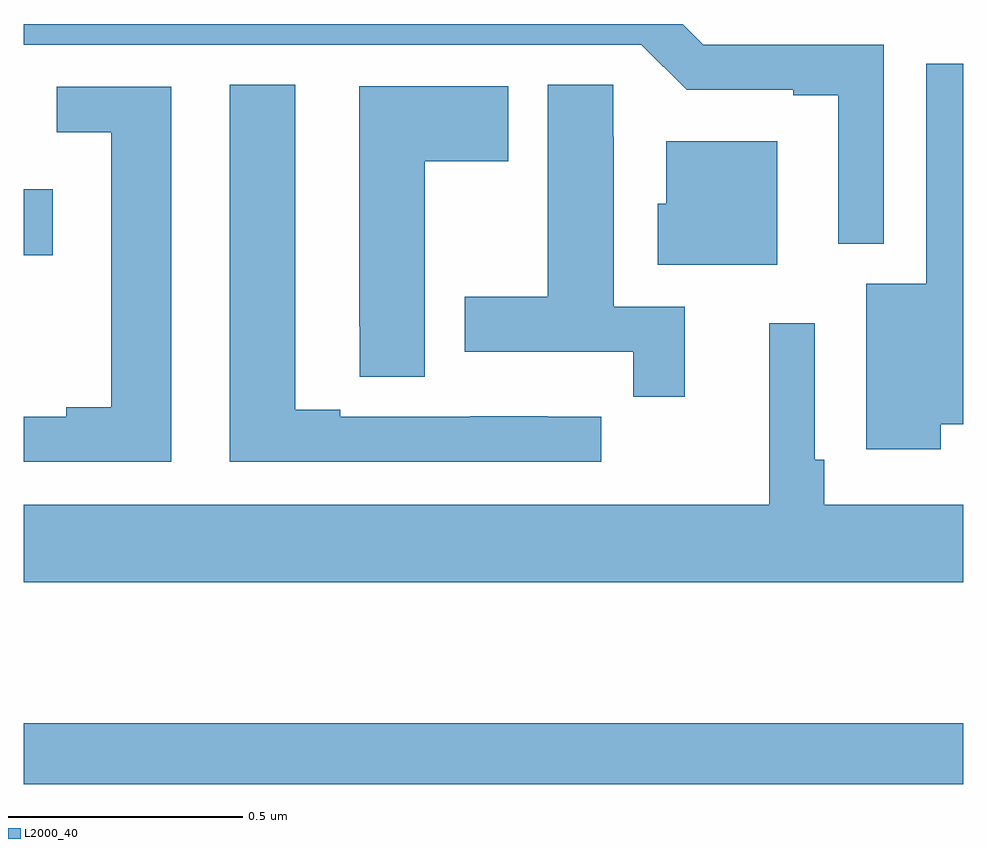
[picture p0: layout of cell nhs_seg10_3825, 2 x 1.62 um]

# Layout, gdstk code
import gdstk
lib = gdstk.Library(unit=1e-6, precision=1e-09)
def R(c, l, rs):  # rectangles x0, y0, x1, y1
    for r in rs: c.add(gdstk.rectangle(r[:2], r[2:], *l))
def P(c, l, *ps):  # polygons
    for p in ps: c.add(gdstk.Polygon(p, *l))
L2000_40 = (2000, 40)

nhs_seg10_3825 = lib.new_cell('nhs_seg10_3825')
R(nhs_seg10_3825, L2000_40, [(158,1303.882,160,1304.011), (158,1305.008,158.062,1305.148)])
P(nhs_seg10_3825, L2000_40, [(159.831,1305.456),(159.447,1305.456),(159.403,1305.5),(158,1305.5),(158,1305.456),(159.315,1305.456),(159.411,1305.36),(159.638,1305.36),(159.638,1305.348),(159.734,1305.348),(159.734,1305.032),(159.831,1305.032)],
  [(159.952,1304.648),(160,1304.648),(160,1305.415),(159.921,1305.415),(159.921,1304.947),(159.794,1304.947),(159.794,1304.595),(159.952,1304.595)],
  [(159.407,1304.898),(159.256,1304.898),(159.256,1305.26),(159.255,1305.26),(159.255,1305.371),(159.116,1305.371),(159.116,1304.919),(158.939,1304.919),(158.939,1304.802),(159.298,1304.802),(159.298,1304.706),(159.407,1304.706)],
  [(159.229,1304.664),(159.116,1304.664),(159.116,1304.665),(158.95,1304.665),(158.95,1304.664),(158.674,1304.664),(158.674,1304.679),(158.578,1304.679),(158.578,1305.371),(158.438,1305.371),(158.438,1304.568),(159.229,1304.568)],
  [(158.854,1305.208),(159.031,1305.208),(159.031,1305.367),(158.714,1305.367),(158.714,1304.857),(158.715,1304.857),(158.715,1304.749),(158.854,1304.749)],
  [(158.314,1305.366),(158.07,1305.366),(158.07,1305.27),(158.186,1305.27),(158.186,1304.684),(158.09,1304.684),(158.09,1304.664),(158,1304.664),(158,1304.568),(158.314,1304.568)],
  [(159.604,1305.25),(159.368,1305.25),(159.368,1305.117),(159.35,1305.117),(159.35,1304.987),(159.604,1304.987)],
  [(160,1304.476),(159.704,1304.476),(159.704,1304.572),(159.684,1304.572),(159.684,1304.863),(159.587,1304.863),(159.587,1304.476),(158,1304.476),(158,1304.312),(160,1304.312)])

lib.write_gds('nhs_seg10_3825.gds')
